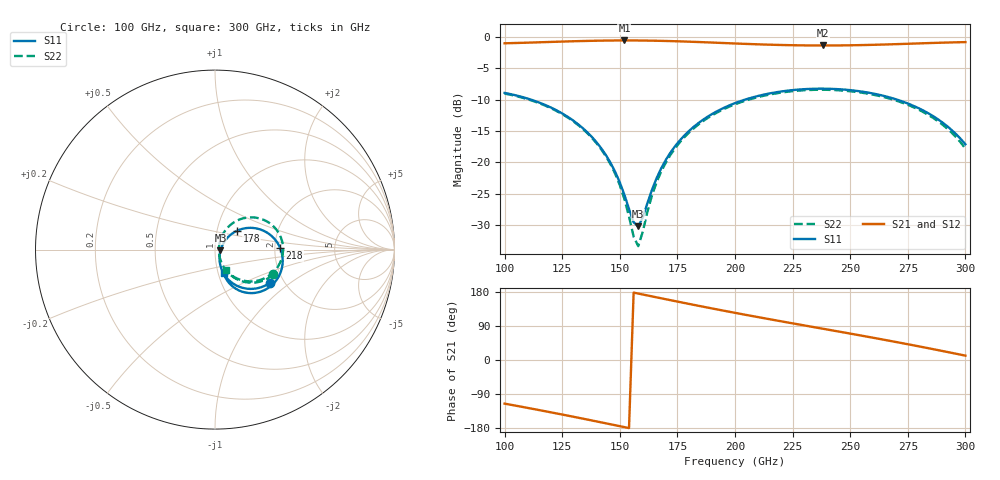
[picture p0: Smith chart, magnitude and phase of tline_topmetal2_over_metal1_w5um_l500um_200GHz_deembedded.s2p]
! Created with skrf 2.0.1 (http://scikit-rf.org).
# GHz S DB R 50.0
!freq dBS11 angS11 dBS21 angS21 dBS12 angS12 dBS22 angS22
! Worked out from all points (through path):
!   101 points, 100 GHz to 300 GHz, reference 50 ohm
!   highest |S21| = -0.56 dB at 152 GHz (marker M1); lowest = -1.4 dB at 238 GHz (marker M2)
!   group delay of S21, straight-line fit = 3.23 ps
!   lowest |S11| = -30.2 dB at 158 GHz (marker M3), VSWR 1.06, Z = 53.2 - j0.469 ohm
!   |S11| at or under -10 dB: 111.5 GHz to 204.3 GHz (92.79 GHz wide, 58.8 % of centre); 270.4 GHz to end of sweep
!   |S22| runs from -33.3 to -8.4 dB; largest |S21 - S12| = 1.1e-14
!   S11 on the Smith chart (normalised r, x): 100 GHz: 1.69, -0.72; 178 GHz: 1.25, +0.27; 218 GHz: 2.14, +0.05; 300 GHz: 1.06, -0.28
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100  -8.92 -31.0  -1.01 -115.1  -1.01 -115.1  -9.03 -23.0
120  -11.23 -52.0  -0.80 -138.0  -0.80 -138.0  -11.34 -42.9
134  -14.55 -65.5  -0.65 -154.8  -0.65 -154.8  -14.68 -56.3
144  -18.84 -71.6  -0.58 -167.2  -0.58 -167.2  -19.04 -63.3
148  -21.50 -70.6  -0.57 -172.2  -0.57 -172.2  -21.80 -63.8
152  -25.16 -63.2  -0.56 -177.2  -0.56 -177.2  -25.83 -58.9
156  -29.52 -35.0  -0.57 177.8  -0.57 177.8  -31.81 -31.7
158  -30.18 -8.2  -0.57 175.3  -0.57 175.3  -33.33 4.9
160  -28.73 15.8  -0.58 172.8  -0.58 172.8  -31.00 37.4
164  -24.32 37.8  -0.60 167.8  -0.60 167.8  -25.22 59.2
168  -20.91 43.3  -0.63 162.8  -0.63 162.8  -21.42 63.0
172  -18.42 43.5  -0.67 157.9  -0.67 157.9  -18.78 62.2
178  -15.71 40.3  -0.73 150.5  -0.73 150.5  -15.98 58.4
188  -12.74 31.7  -0.87 138.5  -0.87 138.5  -12.95 49.5
200  -10.55 19.9  -1.05 124.5  -1.05 124.5  -10.74 37.7
218  -8.81 1.6  -1.27 104.3  -1.27 104.3  -8.98 19.8
234  -8.26 -14.5  -1.36 87.0  -1.36 87.0  -8.43 4.1
238  -8.25 -18.4  -1.37 82.7  -1.37 82.7  -8.42 0.1
254  -8.65 -34.2  -1.31 65.3  -1.31 65.3  -8.83 -15.8
268  -9.73 -47.8  -1.18 49.6  -1.18 49.6  -9.93 -30.1
286  -12.62 -63.7  -0.96 28.6  -0.96 28.6  -12.90 -48.8
300  -17.10 -69.9  -0.83 11.5  -0.83 11.5  -17.79 -62.5
